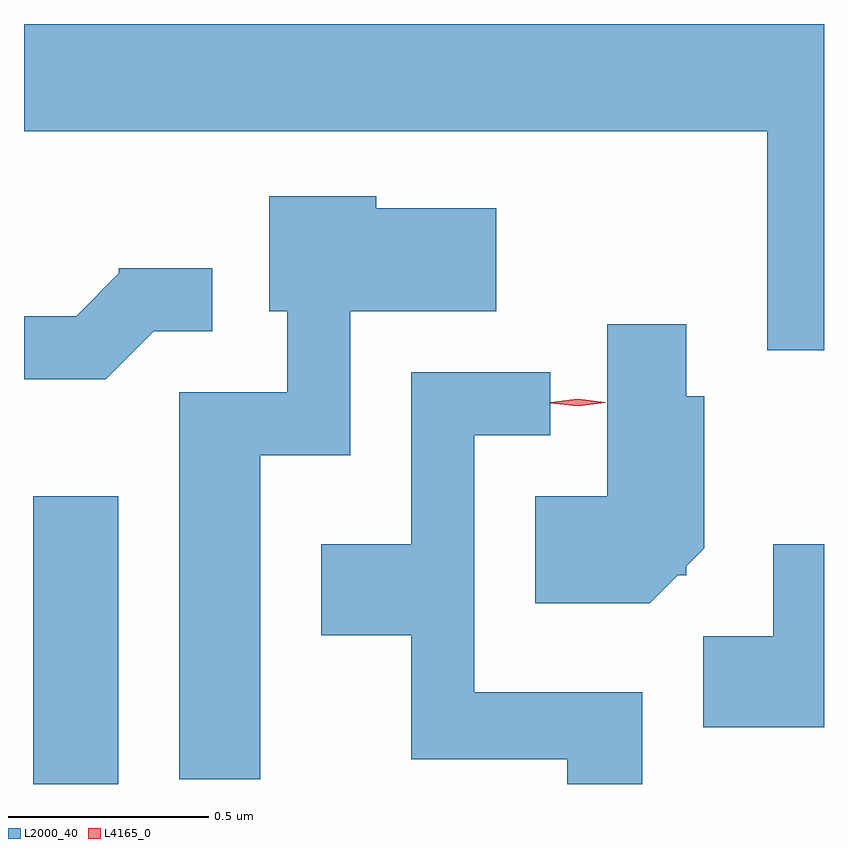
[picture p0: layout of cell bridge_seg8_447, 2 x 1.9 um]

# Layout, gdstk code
import gdstk
lib = gdstk.Library(unit=1e-6, precision=1e-09)
def R(c, l, rs):  # rectangles x0, y0, x1, y1
    for r in rs: c.add(gdstk.rectangle(r[:2], r[2:], *l))
def P(c, l, *ps):  # polygons
    for p in ps: c.add(gdstk.Polygon(p, *l))
L2000_40 = (2000, 40)
L4165_0 = (4165, 0)

bridge_seg8_447 = lib.new_cell('bridge_seg8_447')
R(bridge_seg8_447, L2000_40, [(1009.316,1868.084,1009.529,1868.804)])
P(bridge_seg8_447, L2000_40, [(1011.293,1869.984),(1009.293,1869.984),(1009.293,1869.716),(1011.151,1869.716),(1011.151,1869.168),(1011.293,1869.168)],
  [(1009.884,1868.906),(1010.109,1868.906),(1010.109,1869.266),(1010.474,1869.266),(1010.474,1869.524),(1010.174,1869.524),(1010.174,1869.554),(1009.906,1869.554),(1009.906,1869.266),(1009.951,1869.266),(1009.951,1869.064),(1009.681,1869.064),(1009.681,1868.096),(1009.884,1868.096)],
  [(1009.617,1869.216),(1009.763,1869.216),(1009.763,1869.374),(1009.53,1869.374),(1009.53,1869.361),(1009.424,1869.254),(1009.293,1869.254),(1009.293,1869.096),(1009.497,1869.096)],
  [(1010.927,1868.606),(1010.949,1868.606),(1010.949,1868.629),(1010.994,1868.674),(1010.994,1869.054),(1010.949,1869.054),(1010.949,1869.234),(1010.751,1869.234),(1010.751,1868.804),(1010.571,1868.804),(1010.571,1868.536),(1010.857,1868.536)],
  [(1010.839,1868.314),(1010.419,1868.314),(1010.419,1868.956),(1010.608,1868.956),(1010.608,1869.114),(1010.261,1869.114),(1010.261,1868.684),(1010.036,1868.684),(1010.036,1868.456),(1010.261,1868.456),(1010.261,1868.146),(1010.651,1868.146),(1010.651,1868.084),(1010.839,1868.084)],
  [(1011.293,1868.684),(1011.166,1868.684),(1011.166,1868.454),(1010.991,1868.454),(1010.991,1868.226),(1011.293,1868.226)])
P(bridge_seg8_447, L4165_0, [(1010.678,1869.028),(1010.609,1869.036),(1010.608,1869.037),(1010.609,1869.038),(1010.677,1869.047),(1010.746,1869.038),(1010.747,1869.038),(1010.746,1869.037)])

lib.write_gds('bridge_seg8_447.gds')
